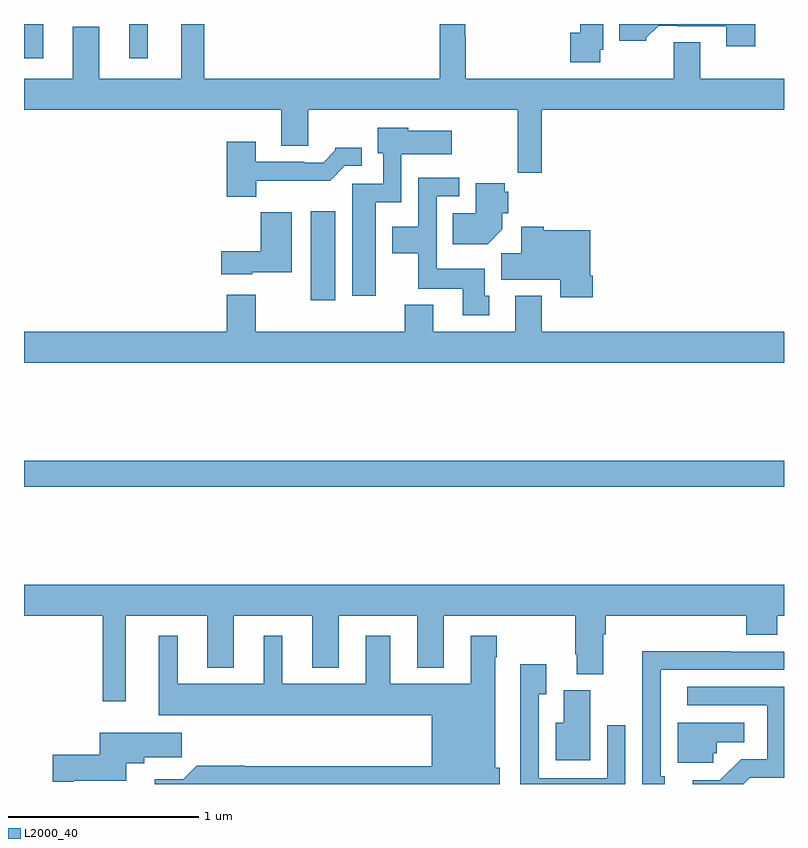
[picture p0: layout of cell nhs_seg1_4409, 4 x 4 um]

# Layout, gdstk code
import gdstk
lib = gdstk.Library(unit=1e-6, precision=1e-09)
def R(c, l, rs):  # rectangles x0, y0, x1, y1
    for r in rs: c.add(gdstk.rectangle(r[:2], r[2:], *l))
def P(c, l, *ps):  # polygons
    for p in ps: c.add(gdstk.Polygon(p, *l))
L2000_40 = (2000, 40)

nhs_seg1_4409 = lib.new_cell('nhs_seg1_4409')
R(nhs_seg1_4409, L2000_40, [(351,533.764,355,533.9), (352.508,534.744,352.639,535.213), (351.002,536.019,351.1,536.199), (351.554,536.019,351.652,536.199)])
P(nhs_seg1_4409, L2000_40, [(353.726,535.748),(355,535.748),(355,535.912),(354.559,535.912),(354.559,536.102),(354.419,536.102),(354.419,535.912),(353.324,535.912),(353.324,536.132),(353.323,536.132),(353.323,536.199),(353.188,536.199),(353.188,535.912),(351.949,535.912),(351.949,536.199),(351.827,536.199),(351.827,535.912),(351.397,535.912),(351.397,536.185),(351.257,536.185),(351.257,535.912),(351,535.912),(351,535.748),(352.355,535.748),(352.355,535.558),(352.495,535.558),(352.495,535.748),(353.598,535.748),(353.598,535.416),(353.726,535.416)],
  [(354.033,536.064),(354.049,536.064),(354.049,536.199),(353.927,536.199),(353.927,536.154),(353.876,536.154),(353.876,535.998),(354.033,535.998)],
  [(354.848,536.199),(354.134,536.199),(354.134,536.111),(354.276,536.111),(354.276,536.126),(354.34,536.19),(354.439,536.19),(354.439,536.187),(354.695,536.187),(354.695,536.082),(354.848,536.082)],
  [(352.852,535.262),(352.986,535.262),(352.986,535.514),(353.251,535.514),(353.251,535.636),(353.022,535.636),(353.022,535.654),(352.862,535.654),(352.862,535.518),(352.89,535.518),(352.89,535.359),(352.727,535.359),(352.727,534.768),(352.852,534.768)],
  [(352.222,535.374),(352.611,535.374),(352.689,535.452),(352.777,535.452),(352.777,535.549),(352.638,535.549),(352.638,535.534),(352.574,535.47),(352.475,535.47),(352.475,535.473),(352.219,535.473),(352.219,535.579),(352.067,535.579),(352.067,535.289),(352.222,535.289)],
  [(353.449,534.768),(353.425,534.768),(353.425,534.91),(353.172,534.91),(353.172,535.293),(353.29,535.293),(353.29,535.389),(353.076,535.389),(353.076,535.132),(352.937,535.132),(352.937,534.992),(353.074,534.992),(353.074,534.806),(353.309,534.806),(353.309,534.666),(353.449,534.666)],
  [(353.518,535.118),(353.518,535.203),(353.549,535.203),(353.549,535.317),(353.531,535.317),(353.531,535.362),(353.378,535.362),(353.378,535.204),(353.257,535.204),(353.257,535.04),(353.44,535.04)],
  [(352.2,534.893),(352.408,534.893),(352.408,535.207),(352.246,535.207),(352.246,535.003),(352.038,535.003),(352.038,534.881),(352.2,534.881)],
  [(353.993,534.874),(353.98,534.874),(353.98,535.114),(353.736,535.114),(353.736,535.132),(353.618,535.132),(353.618,534.992),(353.513,534.992),(353.513,534.854),(353.822,534.854),(353.822,534.762),(353.993,534.762)],
  [(355,534.58),(353.725,534.58),(353.725,534.769),(353.585,534.769),(353.585,534.58),(353.155,534.58),(353.155,534.721),(353.003,534.721),(353.003,534.58),(352.219,534.58),(352.219,534.775),(352.067,534.775),(352.067,534.58),(351,534.58),(351,534.416),(355,534.416)],
  [(351,533.084),(351.414,533.084),(351.414,532.635),(351.535,532.635),(351.535,533.084),(351.965,533.084),(351.965,532.811),(352.105,532.811),(352.105,533.084),(352.517,533.084),(352.517,532.811),(352.657,532.811),(352.657,533.084),(353.069,533.084),(353.069,532.811),(353.209,532.811),(353.209,533.084),(353.902,533.084),(353.902,532.882),(353.909,532.882),(353.909,532.777),(354.049,532.777),(354.049,532.988),(354.062,532.988),(354.062,533.084),(354.8,533.084),(354.8,532.985),(354.965,532.985),(354.965,533.084),(355,533.084),(355,533.248),(351,533.248)],
  [(353.503,532.284),(353.479,532.284),(353.479,532.865),(353.487,532.865),(353.487,532.978),(353.351,532.978),(353.351,532.726),(352.927,532.726),(352.927,532.978),(352.799,532.978),(352.799,532.726),(352.36,532.726),(352.36,532.978),(352.262,532.978),(352.262,532.726),(351.808,532.726),(351.808,532.978),(351.71,532.978),(351.71,532.562),(353.147,532.562),(353.147,532.292),(352.163,532.292),(352.163,532.295),(351.908,532.295),(351.838,532.225),(351.689,532.225),(351.689,532.199),(353.503,532.199)],
  [(354.373,532.239),(354.351,532.239),(354.351,532.8),(355,532.8),(355,532.896),(354.716,532.896),(354.716,532.898),(354.254,532.898),(354.254,532.594),(354.255,532.594),(354.255,532.199),(354.373,532.199)],
  [(354.165,532.507),(354.069,532.507),(354.069,532.23),(353.709,532.23),(353.709,532.672),(353.749,532.672),(353.749,532.828),(353.612,532.828),(353.612,532.384),(353.613,532.384),(353.613,532.199),(354.165,532.199)],
  [(354.819,532.233),(355,532.233),(355,532.71),(354.492,532.71),(354.492,532.614),(354.912,532.614),(354.912,532.329),(354.774,532.329),(354.663,532.218),(354.519,532.218),(354.519,532.199),(354.785,532.199)],
  [(353.98,532.692),(353.84,532.692),(353.84,532.522),(353.798,532.522),(353.798,532.325),(353.98,532.325)],
  [(354.627,532.362),(354.645,532.362),(354.645,532.418),(354.79,532.418),(354.79,532.522),(354.44,532.522),(354.44,532.311),(354.627,532.311)],
  [(351.262,532.217),(351.538,532.217),(351.538,532.307),(351.634,532.307),(351.634,532.339),(351.829,532.339),(351.829,532.468),(351.398,532.468),(351.398,532.352),(351.15,532.352),(351.15,532.21),(351.262,532.21)])

lib.write_gds('nhs_seg1_4409.gds')
